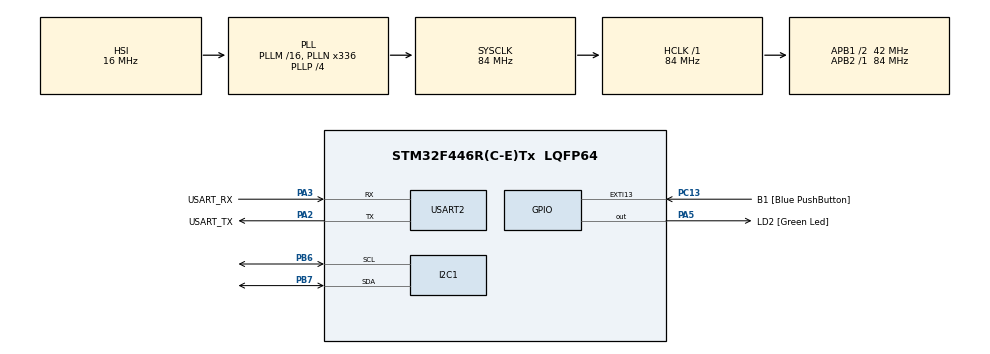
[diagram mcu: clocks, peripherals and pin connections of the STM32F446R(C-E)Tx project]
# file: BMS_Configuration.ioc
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Mcu.Family=STM32F4
Mcu.Name=STM32F446R(C-E)Tx
Mcu.Package=LQFP64
NVIC.PriorityGroup=NVIC_PRIORITYGROUP_0
PA13.GPIO_Label=TMS
PA13.Mode=Serial_Wire
PA13.Signal=SYS_JTMS-SWDIO
PA14.GPIO_Label=TCK
PA14.Mode=Serial_Wire
PA14.Signal=SYS_JTCK-SWCLK
PA2.GPIO_Label=USART_TX
PA2.Mode=Asynchronous
PA2.Signal=USART2_TX
PA3.GPIO_Label=USART_RX
PA3.Mode=Asynchronous
PA3.Signal=USART2_RX
PA5.GPIO_Label=LD2 [Green Led]
PA5.Signal=GPIO_Output
PB3.GPIO_Label=SWO
PB3.Signal=SYS_JTDO-SWO
PB6.Mode=I2C
PB6.Signal=I2C1_SCL
PB7.Mode=I2C
PB7.Signal=I2C1_SDA
PC13.GPIO_Label=B1 [Blue PushButton]
PC13.GPIO_ModeDefaultEXTI=GPIO_MODE_IT_FALLING
PC13.Signal=GPXTI13
PC14-OSC32_IN.Mode=LSE-External-Oscillator
PC14-OSC32_IN.Signal=RCC_OSC32_IN
PC15-OSC32_OUT.Mode=LSE-External-Oscillator
PC15-OSC32_OUT.Signal=RCC_OSC32_OUT
PH0-OSC_IN.Mode=HSE-External-Oscillator
PH0-OSC_IN.Signal=RCC_OSC_IN
PH1-OSC_OUT.Mode=HSE-External-Oscillator
PH1-OSC_OUT.Signal=RCC_OSC_OUT
ProjectManager.HeapSize=0x200
ProjectManager.StackSize=0x400
ProjectManager.TargetToolchain=STM32CubeIDE
RCC.48MHZClocksFreq_Value=84000000
RCC.AHBFreq_Value=84000000
RCC.APB1CLKDivider=RCC_HCLK_DIV2
RCC.APB1Freq_Value=42000000
RCC.APB1TimFreq_Value=84000000
RCC.APB2Freq_Value=84000000
RCC.APB2TimFreq_Value=84000000
RCC.CortexFreq_Value=84000000
RCC.FLatency-AdvancedSettings=FLASH_LATENCY_2
RCC.HCLKFreq_Value=84000000
RCC.HSE_VALUE=8000000
RCC.HSI_VALUE=16000000
RCC.PLLN=336
RCC.PLLP=RCC_PLLP_DIV4
RCC.SYSCLKFreq_VALUE=84000000
RCC.SYSCLKSource=RCC_SYSCLKSOURCE_PLLCLK
RCC.USBFreq_Value=168000000
RCC.VCOOutputFreq_Value=336000000
USART2.VirtualMode=VM_ASYNC
board=NUCLEO-F446RE

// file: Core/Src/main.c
/* USER CODE BEGIN Header */
/**
  ******************************************************************************
  * @file           : main.c
  * @brief          : Main program body
  ******************************************************************************
  * @attention
  *
  * Copyright (c) 2025 STMicroelectronics.
  * All rights reserved.
  *
  * This software is licensed under terms that can be found in the LICENSE file
  * in the root directory of this software component.
  * If no LICENSE file comes with this software, it is provided AS-IS.
  *
  ******************************************************************************
  */
/* USER CODE END Header */
#include "main.h"

I2C_HandleTypeDef hi2c1;

UART_HandleTypeDef huart2;

void SystemClock_Config(void);
static void MX_GPIO_Init(void);
static void MX_USART2_UART_Init(void);
static void MX_I2C1_Init(void);
/* USER CODE BEGIN PFP */
#define I2C_ADDR 0x10 // 7 bit addr is 0x08, 8 bit addr is 0x10(write) or 0x11(read). HAL functions take 8 bit addr as arg so 0x10
uint8_t test;
uint8_t cellType; // cellType: 0 if 35E cells, else 50s cells
/* USER CODE END PFP */

/* USER CODE BEGIN 0 */

HAL_StatusTypeDef I2C_Read(uint16_t device_addr, uint8_t reg_addr, uint8_t * rData, uint16_t length) {
/*
 * device_addr: 7-bit device addr left shifted by 1
 * reg_addr: 8-bit memory addr to read from
 * *rData: ptr to read data buffer with *length* amount of bytes
 * length: amount of bytes to read
 */
/*
 *	read sequence: device addr + W bit, reg addr to read from, dev addr + R bit, read data from device

	   HAL_I2C_Master_Transmit	(
			I2C_HandleTypeDef * 	hi2c,
			uint16_t 	DevAddress,
			uint8_t * 	pData,
			uint16_t 	Size,
			uint32_t 	Timeout
		HAL_I2C_Master_Receive_DMA	(
			I2C_HandleTypeDef * 	hi2c,
			uint16_t 	DevAddress,
			uint8_t * 	pData,
			uint16_t 	Size
		)
 */
	uint8_t pData[1] = {reg_addr};
	while (HAL_I2C_Master_Transmit(&hi2c1, device_addr, pData, 1, 100) != HAL_OK) { // dev_addr + W, reg_addr
		HAL_Delay(1); // commands take <= 1 ms to complete
	}
	HAL_StatusTypeDef status = HAL_I2C_Master_Receive(&hi2c1, device_addr, rData, length, 100); // dev_addr + R, rData(TX from slave)

	return status;
}

HAL_StatusTypeDef I2C_Write(uint16_t device_addr, uint8_t reg_addr, uint8_t * block, uint16_t length) {
/*
 * device_addr: 7-bit device addr left shifted by 1
 * reg_addr: 8-bit memory addr to write to
 * *block: ptr to write data buffer with *length* amount of bytes
 * length: amount of bytes to write
 */
/*
 * 	write sequence: device addr + W bit, reg addr to write to, write data block
 *
 * 	   HAL_I2C_Master_Transmit	(
			I2C_HandleTypeDef * 	hi2c,
			uint16_t 	DevAddress,
			uint8_t * 	pData,
			uint16_t 	Size,
			uint32_t 	Timeout
 */
	uint8_t pData[length+1]; // total data to transmit is 1 byte reg_addr plus Wdata block
	pData[0] = reg_addr;
	for (int i=0; i<length; i++) {
		pData[i+1] = block[i];
	}
	return HAL_I2C_Master_Transmit(&hi2c1, device_addr, pData, length+1, 100);
}

HAL_StatusTypeDef DataRAM_Read(uint16_t addr, uint8_t * rData, uint8_t length) {
/*
 * addr: 8-bit config reg addr OR subcommand addr
 * *rData: ptr to read data buffer with *length* amount of bytes
 * length: amount of bytes to read
	 * Write address location to 0x3E and read back from 0x40
	 * Used to read configuration registers and for subcommands
 */

/*
 ex: read rdata=0x88 from the RAM address 0x9261
 sequence:
 	 0x10, 0x3e, 0x61, 0x92: write reg_addr 0x9261 to subcmd reg 0x3e
 	 0x10, 0x40, 0x11, x88: write transf. buffer 0x40 then send dev_addr + R, read data 0x88
 */
	uint8_t addressBlock[2] = {addr%256, addr/256}; // turn 2 byte subcmd addr to little endian
	HAL_StatusTypeDef wStatus = I2C_Write(I2C_ADDR, 0x3E, addressBlock, 2);
	HAL_StatusTypeDef rStatus = I2C_Read(I2C_ADDR, 0x40, rData, length);
	return (wStatus == HAL_OK && rStatus == HAL_OK) ? HAL_OK : HAL_ERROR;
}

HAL_StatusTypeDef DataRAM_Write(uint16_t addr, uint8_t * block, uint8_t length) {
/*
 * addr: RAM addr to write to
 * *block: write data
 * length: length of write data
 */

/*
ex: write 0x8C to RAM address 0x9261, write checksum(0x80)+len(0x05) to 0x60
sequence:
	0x10, 0x3e, 0x61, 0x92, 0x8c: write data=0x8c and RAM addr 0x9261 to reg=0x3e
	0x10, 0x60, 0x80, 0x05: write checksum+len to 0x60

* Write RAM addr to 0x3E and Checksum+length to 0x60
* total data length includes:
 *  2 bytes command: 0x3E and 0x3F
 *  2 bytes checksum and length: 0x60 and 0x61
 *  1 byte wData: 0x40(transfer buffer)
 *  max 32 bytes: length of the transfer buffer
 *  if the entire 32-byte transfer buffer is used, the data length will be 0x24 = 32 + 4
*/
	uint8_t addressBlock[2] = {addr%256, addr/256}; // turn 2 byte subcmd addr to little endian
	uint8_t wholeBlock[length+2];
	uint8_t checksum_len[2];

	wholeBlock[0] = addressBlock[0];
	wholeBlock[1] = addressBlock[1];

	for (int i=0; i<length; i++) {
		wholeBlock[i+2] = block[i];
	}

	checksum_len[0] = (~(wholeBlock[0] + wholeBlock[1])) & 0xFF; // checksum
	checksum_len[1] = length+4; // total data length

	HAL_StatusTypeDef wStatusCmd = I2C_Write(I2C_ADDR, 0x3E, wholeBlock, length+2); // write RAM addr and WData to 0x3e
	HAL_StatusTypeDef wStatusChecksum = I2C_Write(I2C_ADDR, 0x60, checksum_len, length+4); // write checksum+len to 0x60

	return (wStatusCmd == HAL_OK && wStatusChecksum == HAL_OK) ? HAL_OK : HAL_ERROR;
}

///////////////	13.3 Settings	///////////////

HAL_StatusTypeDef CfgRegulators(void) {
/*
 * Goal: configure registers REG0 and REG12 to set REG1=3v3 and REG2=disabled
 */
	uint8_t Reg0Data[1] = {0x01};
	uint8_t Reg12Data[1] = {0x0d};

	HAL_StatusTypeDef Reg0Status = DataRAM_Write(0x9237, Reg0Data, 1);
	HAL_StatusTypeDef Reg12Status = DataRAM_Write(0x9236, Reg12Data, 1);

	return (Reg0Status == HAL_OK && Reg12Status == HAL_OK) ? HAL_OK : HAL_ERROR;
}

HAL_StatusTypeDef CfgAlertPin(void) {
/*
 * Configures ALERT Pin function to Alert, and to drive active high using REG18
 */
	uint8_t AlertPinCfgData[1] = {0x0A};
	return DataRAM_Write(0x92FC, AlertPinCfgData, 1);
}

HAL_StatusTypeDef CfgVcellMode(void) {
/*
 * Enable cells 1, 2, 3, 4, 5, 10
 * Sequence:
 	 0x10, 0x3e, 0x04, 0x93, 0x7f, 0x03: writes 0x037F to RAM addr 0x9304
 	 0x10, 0x60, 0xe6, 0x06: writes checksum=0xe6 and length=0x06 to 0x60
 */
	uint8_t NumCellsData[2] = {0x1f, 0x02};
	return DataRAM_Write(0x9304, NumCellsData, 2);
}

HAL_StatusTypeDef CfgUserUnits(void) {
/*
 * Set voltage units to mV: bit [2] = 0
 * Set current units to mA: bits [1:0] = 1
 */
	uint8_t UserUnitsData[1] = {0x01};
	return DataRAM_Write(0x9303, UserUnitsData, 2);
}

HAL_StatusTypeDef CfgPrimaryProtections(uint8_t PrimaryProtectionsData) {
/*
 * PrimaryProtectionsData: 8 bit register Enabled Protections A that enable/disable primary protections
 * Goal: Enable the primary protections(COV, CUV, OCC, SCD, OCD1, OCD2) to control FETs, and enable FET charge pumps
 * COV:[3], CUV:[2], OCC:[4], SCD:[7], OCD1:[5], OCD2:[6]
 */
	HAL_StatusTypeDef EnabledProtectionsStatus = DataRAM_Write(0x9261, PrimaryProtectionsData, 1);
	HAL_StatusTypeDef EnabledCHGFETStatus = DataRAM_Write(0x9265, PrimaryProtectionsData, 1); // COV, OCC, SCD
	HAL_StatusTypeDef EnabledDSGFETStatus = DataRAM_Write(0x9269, PrimaryProtectionsData, 1); // CUV, OCD1, OCD2, SCD

	return (EnabledProtectionsStatus == HAL_OK && EnabledCHGFETStatus == HAL_OK && EnabledDSGFETStatus == HAL_OK) ? HAL_OK : HAL_ERROR;
}

HAL_StatusTypeDef CfgAlarmMask(void) {
	/*
	 * Alarm Mask determines which flags are able to set Alarm Status()(0x62 and 0x64 commands)
	 */
	uint8_t DefaultAlarmMaskData[2] = {0x50, 0x00};
	uint8_t AlertMaskAData[1] = {0xFC};

	HAL_StatusTypeDef DefaultAlarmMaskStatus = DataRAM_Write(0x926D, DefaultAlarmMaskData, 2); // Safety Status A and MSK_SFALERT can trigger alarm

	HAL_StatusTypeDef SFAlertMaskAStatus = DataRAM_Write(0x926F, AlertMaskAData, 1); // SF Alert Mask A: enable COV, CUV, OCC, SCD, OCD1, OCD2 to set MSK_SFALERT
	HAL_StatusTypeDef SFAlertMaskBStatus = DataRAM_Write(0x9270, 0x00, 1); // SF Alert Mask B = 0
	HAL_StatusTypeDef SFAlertMaskCStatus = DataRAM_Write(0x9271, 0x00, 1); // SF Alert Mask C = 0

	return (DefaultAlarmMaskStatus == HAL_OK && SFAlertMaskAStatus == HAL_OK && SFAlertMaskBStatus == HAL_OK && SFAlertMaskCStatus == HAL_OK) ? HAL_OK : HAL_ERROR;
}

HAL_StatusTypeDef CfgFETOptions(int test=0) {
/*
 * Sets FET Options register to enable PDSG FETs, device FET control, and optionally host FET control if test=True
 */
	uint8_t FETOptionsData[1];
	FETOptionsData[0] = (test == 1) ? 0x1C : 0x18; // if testing, bit [2] HOST_FET_EN is set to allow host commands to control FETs

	return DataRAM_Write(0x9308, FETOptionsData, 1);
}

HAL_StatusTypeDef CfgFETChgPump(void) {
	uint8_t FETChgPumpData[1] = {0x01};

	return DataRAM_Write(0x9309, FETChgPumpData, 1);
}

HAL_StatusTypeDef CfgMfgStatusInit(void) {
/*
 * Goal: Enable Permanent Failure(PF) checks and autonomous FET control by setting bits [PF_EN] and [FET_EN]
 */
	uint8_t MfgStatusInitData[2] = {0x50, 0x00};
	return DataRAM_Write(0x9343, MfgStatusInitData, 2);
}

////////////////////////////	13.6 Protections	////////////////////////////
HAL_StatusTypeDef SetPrimaryCUV(uint8_t cellType) {
	uint8_t threshold[1] = { (cellType == 0) ? 0x53 : 0x53 };
	return DataRAM_Write(0x9275, threshold, 1);
}

HAL_StatusTypeDef SetPrimaryCOV(uint8_t cellType) {
	uint8_t threshold[1] = { (cellType == 0) ? 0x34 : 0x31 };
	return DataRAM_Write(0x9278, threshold, 1);
}

HAL_StatusTypeDef SetPrimaryOCC(uint8_t cellType) {
	uint8_t threshold[1] = { (cellType == 0) ? 0x07 : 0x0D };
	return DataRAM_Write(0x9280, threshold, 1);
}

HAL_StatusTypeDef SetPrimaryOCD1(uint8_t cellType) {
	uint8_t threshold[1] = { (cellType == 0) ? 0x07 : 0x0D };
	return DataRAM_Write(0x9282, threshold, 1);
}

HAL_StatusTypeDef SetPrimaryOCD2(uint8_t cellType) {
	uint8_t threshold[1] = { (cellType == 0) ? 0x07 : 0x0D };
	return DataRAM_Write(0x9284, threshold, 1);
}

HAL_StatusTypeDef SetPrimarySCD(uint8_t cellType) {
	uint8_t threshold[1] = { (cellType == 0) ? 0x01 : 0x02 };
	return DataRAM_Write(0x9286, threshold, 1);
}

///////////////////		Commands

HAL_StatusTypeDef EnterConfigUpdateMode(void) {
	uint8_t wholeBlock[2] = {0x90, 0x00};
	HAL_StatusTypeDef status I2C_Write(I2C_ADDR, 0x3E, wholeBlock, 2);
	HAL_Delay(3); // cmd 0x0090 takes approx 2 ms
	return status;
}

HAL_StatusTypeDef ExitConfigUpdateMode(void) {
	uint8_t wholeBlock[2] = {0x92, 0x00};
	HAL_StatusTypeDef status = I2C_Write(I2C_ADDR, 0x3E, wholeBlock, 2);
	HAL_Delay(2); // cmd 0x0092 takes approx 1 ms
	return status;
}

HAL_StatusTypeDef AllFETsON(void) {
/*
 * 0x0096 ALL_FETS_ON(): Allows all FETs to be enabled if nothing else is blocking them
 */
	uint8_t wholeBlock[2] = {0x96, 0x00};
	return I2C_Write(I2C_ADDR, 0x3E, wholeBlock, 2);
}

HAL_StatusTypeDef AllFETsOFF(void) {
/*
 * 0x0095 ALL_FETS_OFF(): disables all FETs
 */
	uint8_t wholeBlock[2] = {0x95, 0x00};
	return I2C_Write(I2C_ADDR, 0x3E, wholeBlock, 2);
}

HAL_StatusTypeDef FETStatusCmd(uint8_t * rData) {
/*
 * FET Status() 0x7f read only command: check if CHG and DSG FETs are on or off
 * bit [0]: 1 if CHG FET on, 0 if off
 * bit [2]: 1 if DSG FET on, 0 if off
 */

	return I2C_Read(I2C_ADDR, 0x7F, rData, 1);
}

HAL_StatusTypeDef CellVoltageCmd(uint8_t cell, uint8_t * CellVoltage) {
/*
 * Goal: use VCell direct commands to read voltage of cell
 * cell: index of the cell to read. available cells are 1, 2, 3, 4, 5, 10.
 * CellVoltage: array of two uint8_t, return the read cell voltage
 *
 * ex: read cell 1 voltage. cmd to read cell 1 V is 0x14. 2 byte read returns rData=0x0E74=3700 mV
 * sequence: 0x10, 0x14, 0x11, 0x74, 0x0e
 */
	uint8_t cmd_addr = 0x12 + (cell * 2);

	return I2C_Read(I2C_ADDR, cmd_addr, CellVoltage, 2); // returns 16 bit(2 byte) mV in little endian
}

HAL_StatusTypeDef AllCellVoltageCmd(uint16_t * AllCellVoltages) {
/*
 * Read and display voltage of all enabled cells: 1, 2, 3, 4, 5, 10
 */
	char buffer[100];

	I2C_Read(I2C_ADDR, 0x14, (uint8_t *)&AllCellVoltages[0], 2);
	I2C_Read(I2C_ADDR, 0x16, (uint8_t *)&AllCellVoltages[1], 2);
	I2C_Read(I2C_ADDR, 0x18, (uint8_t *)&AllCellVoltages[2], 2);
	I2C_Read(I2C_ADDR, 0x1A, (uint8_t *)&AllCellVoltages[3], 2);
	I2C_Read(I2C_ADDR, 0x1C, (uint8_t *)&AllCellVoltages[4], 2);
	I2C_Read(I2C_ADDR, 0x26, (uint8_t *)&AllCellVoltages[5], 2);

	sprintf(buffer, "Cell 1: %u mV, Cell 2: %u mV, Cell 3: %u mV\n", AllCellVoltages[0], AllCellVoltages[1], AllCellVoltages[2]);
	HAL_UART_Transmit(&huart2, buffer, strlen(buffer), 100);

	sprintf(buffer, "Cell 4: %u mV, Cell 5: %u mV, Cell 10: %u mV\n", AllCellVoltages[3], AllCellVoltages[4], AllCellVoltages[5]);
	HAL_UART_Transmit(&huart2, buffer, strlen(buffer), 100);
}

HAL_StatusTypeDef CC2CurrentCmd(uint8_t * CC2Current) {
	uint8_t cmd_addr = 0x3A;
	char buffer[50];

	return I2C_Read(I2C_ADDR, cmd_addr, CC2Current, 2); // returns 16 bit(2 byte) mV in little endian
}

HAL_StatusTypeDef test1(void) {
/*
 * Test 1: configure VCell Mode, regulators, user units.
 * ensure correct voltage at regulator pins.
*/
	uint8_t * rData;
	char buffer[100];

	HAL_StatusTypeDef status = EnterConfigUpdateMode();
	CfgVcellMode(); // enables cells 1-5 and 10
	CfgRegulators(); // configures REG1 to 3.3 V and REG18 to 1.8 V
	CfgUserUnits(); // sets user-volts to mV and user-amps to mA
	ExitConfigUpdateMode();

	DataRAM_Read(0x9304, rData, 2); // vcell mode
	sprintf(buffer, "RAM read data at 0x9304: %u \n", *(uint16_t *)rData);
	HAL_UART_Transmit(&huart2, buffer, strlen(buffer), 100);

	DataRAM_Read(0x9236, rData, 1); // reg12
	sprintf(buffer, "RAM read data at 0x9236: %u \n", *rData);
	HAL_UART_Transmit(&huart2, buffer, strlen(buffer), 100);

	DataRAM_Read(0x9237, rData, 1); // reg0
	sprintf(buffer, "RAM read data at 0x9237: %u \n", *rData);
	HAL_UART_Transmit(&huart2, buffer, strlen(buffer), 100);

	DataRAM_Read(0x9303, rData, 1); // user units
	sprintf(buffer, "RAM read data at 0x9303: %u \n", *rData);
	HAL_UART_Transmit(&huart2, buffer, strlen(buffer), 100);

	return status;
}

HAL_StatusTypeDef test2(void) {
/*
* Test 2: Verify that IC can read voltage of each cell
*/
	uint8_t * CellVoltage;
	char buffer[100];
	int cell = 1; // repeat for cell = 1, 2, 3, 4, 5, 10

	HAL_StatusTypeDef status = EnterConfigUpdateMode();
	CfgVcellMode();
	CfgRegulators();
	CfgUserUnits();
	ExitConfigUpdateMode();

	CellVoltageCmd(cell, CellVoltage);
	sprintf(buffer, "Voltage of cell %u: %u mV\n", cell, *(uint16_t *)CellVoltage);

	return status;
}

HAL_StatusTypeDef test3(void) {
/*
* Test 3: Verify that IC can read pack current
*/
	uint8_t * CC2Current;
	char buffer[100];

	HAL_StatusTypeDef status = EnterConfigUpdateMode();
	CfgVcellMode();
	CfgRegulators();
	CfgUserUnits();
	ExitConfigUpdateMode();

	CC2CurrentCmd(CC2Current);
	sprintf(buffer, "Pack current: %u mA\n", *(uint16_t *)CC2Current);

	return status;
}

HAL_StatusTypeDef test4(void) {
/*
 * Test 4: Configure COV threshold and ensure that OV turns CHG FETs off
 * Poll CHG FET status while increasing voltage applied at cell terminals
 * Ensure that CHG FETs turn off once applied voltage reaches COV threshold
 */
	test = 4;
	//uint8_t * CellVoltage;
	char buffer[100];
	//int cell = 1; // repeat for cell = 1, 2, 3, 4, 5, 10

	HAL_StatusTypeDef status = EnterConfigUpdateMode();
	CfgVcellMode();
	CfgRegulators();
	CfgUserUnits();

	CfgPrimaryProtections(0b00001000); // enable COV = primary protection A[3]

	CfgFETOptions(); // configure FETs
	CfgFETChgPump();
	CfgMfgStatusInit();

	SetPrimaryCOV(cellType); // set COV threshold value

	AllFETsON();

	ExitConfigUpdateMode();

	//CellVoltageCmd(cell, CellVoltage);
	//sprintf(buffer, "Voltage of cell %u: %u mV\n", cell, *(uint16_t *)CellVoltage);
	//FETStatusCmd(uint8_t * rData) // bit[0] is CHG FET status

	HAL_StatusTypeDef CellVoltageCmd

	return status;

}

void test5(void) {

}

/* USER CODE END 0 */

int main(void)
{

  /* MCU Configuration--------------------------------------------------------*/

  /* Reset of all peripherals, Initializes the Flash interface and the Systick. */
  HAL_Init();

  /* Configure the system clock */
  SystemClock_Config();

  /* Initialize all configured peripherals */
  MX_GPIO_Init();
  MX_USART2_UART_Init();
  MX_I2C1_Init();
  /* USER CODE BEGIN 2 */
  test1();
  test2();
  test3();
  /* USER CODE END 2 */

  /* Infinite loop */
  while (1)
  {

  }
}

void SystemClock_Config(void)
{
  RCC_OscInitTypeDef RCC_OscInitStruct = {0};
  RCC_ClkInitTypeDef RCC_ClkInitStruct = {0};

  /** Configure the main internal regulator output voltage
  */
  __HAL_RCC_PWR_CLK_ENABLE();
  __HAL_PWR_VOLTAGESCALING_CONFIG(PWR_REGULATOR_VOLTAGE_SCALE3);

  /** Initializes the RCC Oscillators according to the specified parameters
  * in the RCC_OscInitTypeDef structure.
  */
  RCC_OscInitStruct.OscillatorType = RCC_OSCILLATORTYPE_HSI;
  RCC_OscInitStruct.HSIState = RCC_HSI_ON;
  RCC_OscInitStruct.HSICalibrationValue = RCC_HSICALIBRATION_DEFAULT;
  RCC_OscInitStruct.PLL.PLLState = RCC_PLL_ON;
  RCC_OscInitStruct.PLL.PLLSource = RCC_PLLSOURCE_HSI;
  RCC_OscInitStruct.PLL.PLLM = 16;
  RCC_OscInitStruct.PLL.PLLN = 336;
  RCC_OscInitStruct.PLL.PLLP = RCC_PLLP_DIV4;
  RCC_OscInitStruct.PLL.PLLQ = 2;
  RCC_OscInitStruct.PLL.PLLR = 2;
  if (HAL_RCC_OscConfig(&RCC_OscInitStruct) != HAL_OK)
  {
    Error_Handler();
  }

  /** Initializes the CPU, AHB and APB buses clocks
  */
  RCC_ClkInitStruct.ClockType = RCC_CLOCKTYPE_HCLK|RCC_CLOCKTYPE_SYSCLK
                              |RCC_CLOCKTYPE_PCLK1|RCC_CLOCKTYPE_PCLK2;
  RCC_ClkInitStruct.SYSCLKSource = RCC_SYSCLKSOURCE_PLLCLK;
  RCC_ClkInitStruct.AHBCLKDivider = RCC_SYSCLK_DIV1;
  RCC_ClkInitStruct.APB1CLKDivider = RCC_HCLK_DIV2;
  RCC_ClkInitStruct.APB2CLKDivider = RCC_HCLK_DIV1;

  if (HAL_RCC_ClockConfig(&RCC_ClkInitStruct, FLASH_LATENCY_2) != HAL_OK)
  {
    Error_Handler();
  }
}

static void MX_I2C1_Init(void)
{

  hi2c1.Instance = I2C1;
  hi2c1.Init.ClockSpeed = 100000;
  hi2c1.Init.DutyCycle = I2C_DUTYCYCLE_2;
  hi2c1.Init.OwnAddress1 = 0;
  hi2c1.Init.AddressingMode = I2C_ADDRESSINGMODE_7BIT;
  hi2c1.Init.DualAddressMode = I2C_DUALADDRESS_DISABLE;
  hi2c1.Init.OwnAddress2 = 0;
  hi2c1.Init.GeneralCallMode = I2C_GENERALCALL_DISABLE;
  hi2c1.Init.NoStretchMode = I2C_NOSTRETCH_DISABLE;
  if (HAL_I2C_Init(&hi2c1) != HAL_OK)
  {
    Error_Handler();
  }

}

static void MX_USART2_UART_Init(void)
{

  huart2.Instance = USART2;
  huart2.Init.BaudRate = 115200;
  huart2.Init.WordLength = UART_WORDLENGTH_8B;
  huart2.Init.StopBits = UART_STOPBITS_1;
  huart2.Init.Parity = UART_PARITY_NONE;
  huart2.Init.Mode = UART_MODE_TX_RX;
  huart2.Init.HwFlowCtl = UART_HWCONTROL_NONE;
  huart2.Init.OverSampling = UART_OVERSAMPLING_16;
  if (HAL_UART_Init(&huart2) != HAL_OK)
  {
    Error_Handler();
  }

}

static void MX_GPIO_Init(void)
{
  GPIO_InitTypeDef GPIO_InitStruct = {0};

  /* GPIO Ports Clock Enable */
  __HAL_RCC_GPIOC_CLK_ENABLE();
  __HAL_RCC_GPIOH_CLK_ENABLE();
  __HAL_RCC_GPIOA_CLK_ENABLE();
  __HAL_RCC_GPIOB_CLK_ENABLE();

  /*Configure GPIO pin Output Level */
  HAL_GPIO_WritePin(LD2_GPIO_Port, LD2_Pin, GPIO_PIN_RESET);

  /*Configure GPIO pin : B1_Pin */
  GPIO_InitStruct.Pin = B1_Pin;
  GPIO_InitStruct.Mode = GPIO_MODE_IT_FALLING;
  GPIO_InitStruct.Pull = GPIO_NOPULL;
  HAL_GPIO_Init(B1_GPIO_Port, &GPIO_InitStruct);

  /*Configure GPIO pin : LD2_Pin */
  GPIO_InitStruct.Pin = LD2_Pin;
  GPIO_InitStruct.Mode = GPIO_MODE_OUTPUT_PP;
  GPIO_InitStruct.Pull = GPIO_NOPULL;
  GPIO_InitStruct.Speed = GPIO_SPEED_FREQ_LOW;
  HAL_GPIO_Init(LD2_GPIO_Port, &GPIO_InitStruct);

}

void Error_Handler(void)
{
  __disable_irq();
  while (1)
  {
  }
}
